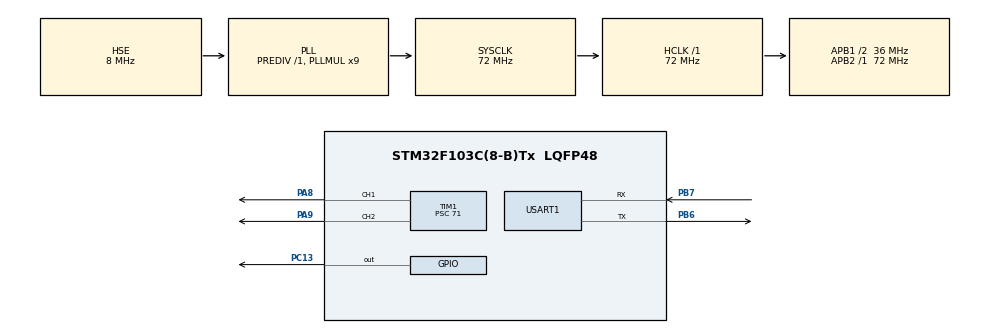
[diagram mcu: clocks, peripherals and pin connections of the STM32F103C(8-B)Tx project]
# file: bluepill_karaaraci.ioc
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Mcu.Family=STM32F1
Mcu.Name=STM32F103C(8-B)Tx
Mcu.Package=LQFP48
NVIC.PriorityGroup=NVIC_PRIORITYGROUP_4
PA13.Mode=Serial_Wire
PA13.Signal=SYS_JTMS-SWDIO
PA14.Mode=Serial_Wire
PA14.Signal=SYS_JTCK-SWCLK
PA8.Signal=S_TIM1_CH1
PA9.Signal=S_TIM1_CH2
PB6.Mode=Asynchronous
PB6.Signal=USART1_TX
PB7.Mode=Asynchronous
PB7.Signal=USART1_RX
PC13-TAMPER-RTC.Signal=GPIO_Output
PD0-OSC_IN.Mode=HSE-External-Oscillator
PD0-OSC_IN.Signal=RCC_OSC_IN
PD1-OSC_OUT.Mode=HSE-External-Oscillator
PD1-OSC_OUT.Signal=RCC_OSC_OUT
ProjectManager.HeapSize=0x200
ProjectManager.StackSize=0x400
ProjectManager.TargetToolchain=STM32CubeIDE
RCC.AHBFreq_Value=72000000
RCC.APB1CLKDivider=RCC_HCLK_DIV2
RCC.APB1Freq_Value=36000000
RCC.APB1TimFreq_Value=72000000
RCC.APB2Freq_Value=72000000
RCC.APB2TimFreq_Value=72000000
RCC.HCLKFreq_Value=72000000
RCC.PLLMUL=RCC_PLL_MUL9
RCC.PLLSourceVirtual=RCC_PLLSOURCE_HSE
RCC.SYSCLKFreq_VALUE=72000000
RCC.SYSCLKSource=RCC_SYSCLKSOURCE_PLLCLK
RCC.USBFreq_Value=72000000
SH.S_TIM1_CH1.0=TIM1_CH1,PWM Generation1 CH1
SH.S_TIM1_CH2.0=TIM1_CH2,PWM Generation2 CH2
TIM1.Channel-PWM\ Generation1\ CH1=TIM_CHANNEL_1
TIM1.Channel-PWM\ Generation2\ CH2=TIM_CHANNEL_2
TIM1.Period=19999
TIM1.Prescaler=71
USART1.VirtualMode=VM_ASYNC
board=custom

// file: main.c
/* USER CODE BEGIN Header */
/**
  ******************************************************************************
  * @file           : main.c
  * @brief          : Main program body
  ******************************************************************************
  * @attention
  *
  * <h2><center>&copy; Copyright (c) 2021 STMicroelectronics.
  * All rights reserved.</center></h2>
  *
  * This software component is licensed by ST under BSD 3-Clause license,
  * the "License"; You may not use this file except in compliance with the
  * License. You may obtain a copy of the License at:
  *                        opensource.org/licenses/BSD-3-Clause
  *
  ******************************************************************************
  */
/* USER CODE END Header */

#include "main.h"

TIM_HandleTypeDef htim1;

UART_HandleTypeDef huart1;

/* USER CODE BEGIN PV */

void forward(int r_power,int l_power){
	char message[20];

	l_power=1490+(l_power*6);
	r_power=1490-(r_power*6);
	__HAL_TIM_SET_COMPARE(&htim1, TIM_CHANNEL_1,(int)r_power);//Right, forward
	__HAL_TIM_SET_COMPARE(&htim1, TIM_CHANNEL_2,(int)l_power);

	if(r_power>l_power){
		HAL_UART_Transmit(&huart1, (uint8_t*)message,sprintf(message,"sola gidiyoruz\n"),100);
	}
	if(r_power<l_power){
		HAL_UART_Transmit(&huart1, (uint8_t*)message,sprintf(message,"saga gidiyoruz\n"),100);
	}
	if(r_power==l_power){
		HAL_UART_Transmit(&huart1, (uint8_t*)message,sprintf(message,"duz gidiyoruz\n"),100);
	}
	//__HAL_TIM_SET_COMPARE(&htim1, TIM_CHANNEL_1,3500);//Right, forward
	//__HAL_TIM_SET_COMPARE(&htim1, TIM_CHANNEL_2,1500);//Left, backward 3985-(power-550)
}
void left(r_power,l_power){
	__HAL_TIM_SET_COMPARE(&htim1, TIM_CHANNEL_1,r_power);//Right, forward
	__HAL_TIM_SET_COMPARE(&htim1, TIM_CHANNEL_2,l_power);//Left, backward

}
void right(r_power,l_power){
	__HAL_TIM_SET_COMPARE(&htim1, TIM_CHANNEL_1, r_power);//Right, backward
	__HAL_TIM_SET_COMPARE(&htim1, TIM_CHANNEL_2, l_power);//Left, forward

}
void stop(){
	int middle=2048;
	__HAL_TIM_SET_COMPARE(&htim1, TIM_CHANNEL_1, middle);//Right Forward, forward
	__HAL_TIM_SET_COMPARE(&htim1, TIM_CHANNEL_3, middle);//Right Backward, forward
}
/* USER CODE END PV */

void SystemClock_Config(void);
static void MX_GPIO_Init(void);
static void MX_TIM1_Init(void);
static void MX_USART1_UART_Init(void);

int main(void)
{

  /* MCU Configuration--------------------------------------------------------*/

  /* Reset of all peripherals, Initializes the Flash interface and the Systick. */
  HAL_Init();

  /* Configure the system clock */
  SystemClock_Config();

  /* Initialize all configured peripherals */
  MX_GPIO_Init();
  MX_TIM1_Init();
  MX_USART1_UART_Init();
  /* USER CODE BEGIN 2 */
  HAL_TIM_PWM_Start(&htim1, TIM_CHANNEL_1);//Left Motor
  HAL_TIM_PWM_Start(&htim1, TIM_CHANNEL_2);//Right Motor

  char rx_b[5];
  char message[20];
  int r_power=0;
  int l_power=0;
  int x=0;
  HAL_UART_Transmit(&huart1, (uint8_t*)message,sprintf(message,"merhaba\n"),100);
  HAL_UART_Transmit(&huart1, (uint8_t*)message,sprintf(message,"program basladi :)\n"),100);

  HAL_GPIO_WritePin(GPIOC, GPIO_PIN_13, GPIO_PIN_RESET);

  /*for(int i=0;i<180;i++){
  	  HAL_GPIO_WritePin(GPIOC, GPIO_PIN_13, GPIO_PIN_SET);
  	  forward(i,i);
  	  HAL_Delay(30);
    }*/
    HAL_GPIO_WritePin(GPIOC, GPIO_PIN_13, GPIO_PIN_RESET);
    HAL_Delay(50);
  /* USER CODE END 2 */

  /* Infinite loop */
  while (1)
  {

    /* USER CODE BEGIN 3 */
	  /*for(int i=0;i<180;i++){
		 forward(i,i);
	  }*/
	  HAL_UART_Receive(&huart1, (uint8_t*)rx_b,7,100);
	  for(int i=0;i<5;i++){
	  		 if(rx_b[i]==125){
	  			HAL_GPIO_WritePin(GPIOC, GPIO_PIN_13, GPIO_PIN_SET);
	  			r_power=rx_b[i+1];
	  			l_power=rx_b[i+2];
	  			break;
	  		 }
	  }
	  forward(r_power,l_power);
	  /*for(int i=0;i<180;i++){
	    	  HAL_GPIO_WritePin(GPIOC, GPIO_PIN_13, GPIO_PIN_SET);
	    	  forward(i,i);
	    	  HAL_Delay(30);
	     }*/

	  /*for(int i=400;i>397;i--){
		  x=i;
		  __HAL_TIM_SET_COMPARE(&htim1, TIM_CHANNEL_1,i);
		  HAL_Delay(500);
		  HAL_GPIO_WritePin(GPIOC, GPIO_PIN_13, GPIO_PIN_SET);
	      }*/
	  HAL_GPIO_WritePin(GPIOC, GPIO_PIN_13, GPIO_PIN_RESET);
	  HAL_Delay(50);
	  //1540-1435 durma degeri(orta)
	  //400 durma degeri(minimum)
	  //2580 durma degeri(maksimum)

  }
  /* USER CODE END 3 */
}

void SystemClock_Config(void)
{
  RCC_OscInitTypeDef RCC_OscInitStruct = {0};
  RCC_ClkInitTypeDef RCC_ClkInitStruct = {0};

  /** Initializes the CPU, AHB and APB busses clocks
  */
  RCC_OscInitStruct.OscillatorType = RCC_OSCILLATORTYPE_HSE;
  RCC_OscInitStruct.HSEState = RCC_HSE_ON;
  RCC_OscInitStruct.HSEPredivValue = RCC_HSE_PREDIV_DIV1;
  RCC_OscInitStruct.HSIState = RCC_HSI_ON;
  RCC_OscInitStruct.PLL.PLLState = RCC_PLL_ON;
  RCC_OscInitStruct.PLL.PLLSource = RCC_PLLSOURCE_HSE;
  RCC_OscInitStruct.PLL.PLLMUL = RCC_PLL_MUL9;
  if (HAL_RCC_OscConfig(&RCC_OscInitStruct) != HAL_OK)
  {
    Error_Handler();
  }
  /** Initializes the CPU, AHB and APB busses clocks
  */
  RCC_ClkInitStruct.ClockType = RCC_CLOCKTYPE_HCLK|RCC_CLOCKTYPE_SYSCLK
                              |RCC_CLOCKTYPE_PCLK1|RCC_CLOCKTYPE_PCLK2;
  RCC_ClkInitStruct.SYSCLKSource = RCC_SYSCLKSOURCE_PLLCLK;
  RCC_ClkInitStruct.AHBCLKDivider = RCC_SYSCLK_DIV1;
  RCC_ClkInitStruct.APB1CLKDivider = RCC_HCLK_DIV2;
  RCC_ClkInitStruct.APB2CLKDivider = RCC_HCLK_DIV1;

  if (HAL_RCC_ClockConfig(&RCC_ClkInitStruct, FLASH_LATENCY_2) != HAL_OK)
  {
    Error_Handler();
  }
}

static void MX_TIM1_Init(void)
{

  TIM_MasterConfigTypeDef sMasterConfig = {0};
  TIM_OC_InitTypeDef sConfigOC = {0};
  TIM_BreakDeadTimeConfigTypeDef sBreakDeadTimeConfig = {0};

  htim1.Instance = TIM1;
  htim1.Init.Prescaler = 71;
  htim1.Init.CounterMode = TIM_COUNTERMODE_UP;
  htim1.Init.Period = 19999;
  htim1.Init.ClockDivision = TIM_CLOCKDIVISION_DIV1;
  htim1.Init.RepetitionCounter = 0;
  htim1.Init.AutoReloadPreload = TIM_AUTORELOAD_PRELOAD_DISABLE;
  if (HAL_TIM_PWM_Init(&htim1) != HAL_OK)
  {
    Error_Handler();
  }
  sMasterConfig.MasterOutputTrigger = TIM_TRGO_RESET;
  sMasterConfig.MasterSlaveMode = TIM_MASTERSLAVEMODE_DISABLE;
  if (HAL_TIMEx_MasterConfigSynchronization(&htim1, &sMasterConfig) != HAL_OK)
  {
    Error_Handler();
  }
  sConfigOC.OCMode = TIM_OCMODE_PWM1;
  sConfigOC.Pulse = 0;
  sConfigOC.OCPolarity = TIM_OCPOLARITY_HIGH;
  sConfigOC.OCNPolarity = TIM_OCNPOLARITY_HIGH;
  sConfigOC.OCFastMode = TIM_OCFAST_DISABLE;
  sConfigOC.OCIdleState = TIM_OCIDLESTATE_RESET;
  sConfigOC.OCNIdleState = TIM_OCNIDLESTATE_RESET;
  if (HAL_TIM_PWM_ConfigChannel(&htim1, &sConfigOC, TIM_CHANNEL_1) != HAL_OK)
  {
    Error_Handler();
  }
  if (HAL_TIM_PWM_ConfigChannel(&htim1, &sConfigOC, TIM_CHANNEL_2) != HAL_OK)
  {
    Error_Handler();
  }
  sBreakDeadTimeConfig.OffStateRunMode = TIM_OSSR_DISABLE;
  sBreakDeadTimeConfig.OffStateIDLEMode = TIM_OSSI_DISABLE;
  sBreakDeadTimeConfig.LockLevel = TIM_LOCKLEVEL_OFF;
  sBreakDeadTimeConfig.DeadTime = 0;
  sBreakDeadTimeConfig.BreakState = TIM_BREAK_DISABLE;
  sBreakDeadTimeConfig.BreakPolarity = TIM_BREAKPOLARITY_HIGH;
  sBreakDeadTimeConfig.AutomaticOutput = TIM_AUTOMATICOUTPUT_DISABLE;
  if (HAL_TIMEx_ConfigBreakDeadTime(&htim1, &sBreakDeadTimeConfig) != HAL_OK)
  {
    Error_Handler();
  }
  HAL_TIM_MspPostInit(&htim1);

}

static void MX_USART1_UART_Init(void)
{

  huart1.Instance = USART1;
  huart1.Init.BaudRate = 115200;
  huart1.Init.WordLength = UART_WORDLENGTH_8B;
  huart1.Init.StopBits = UART_STOPBITS_1;
  huart1.Init.Parity = UART_PARITY_NONE;
  huart1.Init.Mode = UART_MODE_TX_RX;
  huart1.Init.HwFlowCtl = UART_HWCONTROL_NONE;
  huart1.Init.OverSampling = UART_OVERSAMPLING_16;
  if (HAL_UART_Init(&huart1) != HAL_OK)
  {
    Error_Handler();
  }

}

static void MX_GPIO_Init(void)
{
  GPIO_InitTypeDef GPIO_InitStruct = {0};

  /* GPIO Ports Clock Enable */
  __HAL_RCC_GPIOC_CLK_ENABLE();
  __HAL_RCC_GPIOD_CLK_ENABLE();
  __HAL_RCC_GPIOA_CLK_ENABLE();
  __HAL_RCC_GPIOB_CLK_ENABLE();

  /*Configure GPIO pin Output Level */
  HAL_GPIO_WritePin(GPIOC, GPIO_PIN_13, GPIO_PIN_RESET);

  /*Configure GPIO pin : PC13 */
  GPIO_InitStruct.Pin = GPIO_PIN_13;
  GPIO_InitStruct.Mode = GPIO_MODE_OUTPUT_PP;
  GPIO_InitStruct.Pull = GPIO_NOPULL;
  GPIO_InitStruct.Speed = GPIO_SPEED_FREQ_LOW;
  HAL_GPIO_Init(GPIOC, &GPIO_InitStruct);

}

void Error_Handler(void)
{
}

/************************ (C) COPYRIGHT STMicroelectronics *****END OF FILE****/
